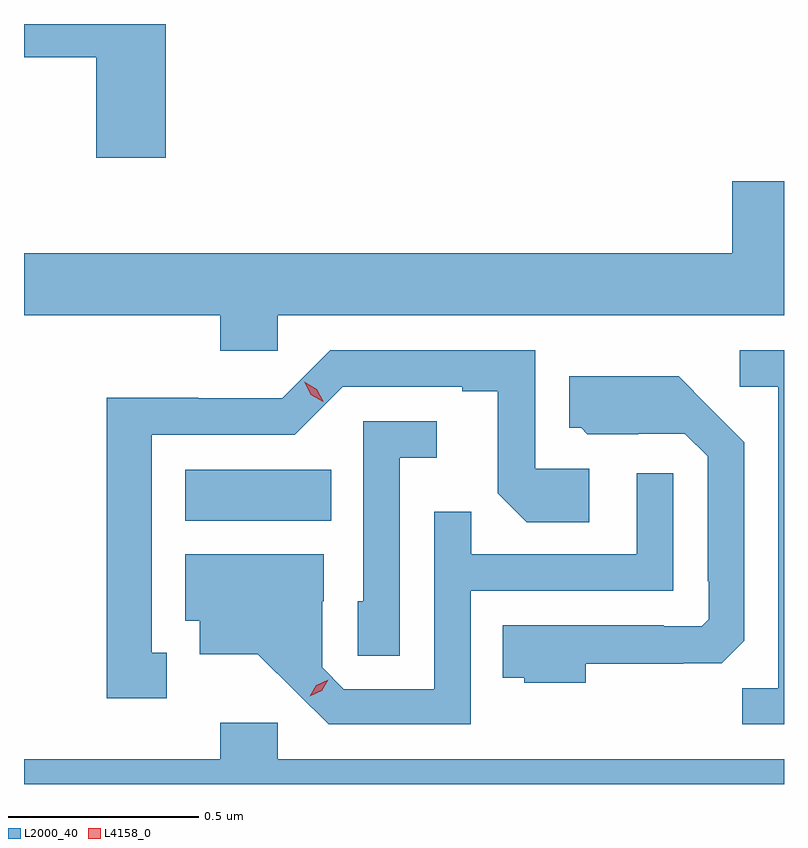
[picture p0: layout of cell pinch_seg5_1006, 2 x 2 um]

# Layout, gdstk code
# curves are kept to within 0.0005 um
import gdstk
lib = gdstk.Library(unit=1e-6, precision=1e-09)
def R(c, l, rs):  # rectangles x0, y0, x1, y1
    for r in rs: c.add(gdstk.rectangle(r[:2], r[2:], *l))
def P(c, l, *ps):  # polygons
    for p in ps: c.add(gdstk.Polygon(p, *l))
L2000_40 = (2000, 40)
L4158_0 = (4158, 0)

pinch_seg5_1006 = lib.new_cell('pinch_seg5_1006')
R(pinch_seg5_1006, L2000_40, [(750.98,877.532,751.364,877.666)])
P(pinch_seg5_1006, L2000_40, [(750.929,878.839),(750.556,878.839),(750.556,878.752),(750.746,878.752),(750.746,878.487),(750.929,878.487)],
  [(751.224,878.072),(752.556,878.072),(752.556,878.425),(752.42,878.425),(752.42,878.236),(750.556,878.236),(750.556,878.072),(751.073,878.072),(751.073,877.979),(751.224,877.979)],
  [(750.931,877.185),(750.892,877.185),(750.892,877.758),(751.269,877.758),(751.395,877.884),(751.709,877.884),(751.709,877.872),(751.803,877.872),(751.803,877.604),(751.879,877.528),(752.044,877.528),(752.044,877.668),(751.902,877.668),(751.902,877.98),(751.362,877.98),(751.236,877.854),(751.014,877.854),(751.014,877.856),(750.774,877.856),(750.774,877.065),(750.931,877.065)],
  [(752.556,877.98),(752.439,877.98),(752.439,877.884),(752.541,877.884),(752.541,877.091),(752.446,877.091),(752.446,876.996),(752.556,876.996)],
  [(752.034,877.156),(752.291,877.156),(752.291,877.157),(752.392,877.157),(752.451,877.216),(752.451,877.738),(752.279,877.912),(751.991,877.912),(751.991,877.776),(752.022,877.776),(752.038,877.76),(752.172,877.76),(752.172,877.761),(752.295,877.761),(752.355,877.701),(752.355,877.372),(752.358,877.372),(752.358,877.272),(752.34,877.254),(752.24,877.254),(752.24,877.257),(751.816,877.257),(751.816,877.118),(751.872,877.118),(751.872,877.106),(752.034,877.106)],
  [(751.545,877.697),(751.642,877.697),(751.642,877.794),(751.449,877.794),(751.449,877.32),(751.434,877.32),(751.434,877.177),(751.545,877.177)],
  [(751.731,877.347),(752.265,877.347),(752.265,877.657),(752.169,877.657),(752.169,877.443),(751.733,877.443),(751.733,877.556),(751.635,877.556),(751.635,877.089),(751.398,877.089),(751.341,877.146),(751.341,877.32),(751.345,877.32),(751.345,877.444),(750.98,877.444),(750.98,877.268),(751.019,877.268),(751.019,877.181),(751.171,877.181),(751.358,876.996),(751.731,876.996)],
  [(752.556,876.904),(751.224,876.904),(751.224,877),(751.073,877),(751.073,876.904),(750.556,876.904),(750.556,876.839),(752.556,876.839)])
P(pinch_seg5_1006, L4158_0, [(751.308,877.07),(751.308,877.07),(751.325,877.099),(751.356,877.114),(751.356,877.114),(751.356,877.114),(751.339,877.085),(751.308,877.07)],
  [(751.343,877.845),(751.311,877.864),(751.293,877.897),(751.293,877.897),(751.294,877.897),(751.326,877.878),(751.343,877.846),(751.343,877.845)])

lib.write_gds('pinch_seg5_1006.gds')
